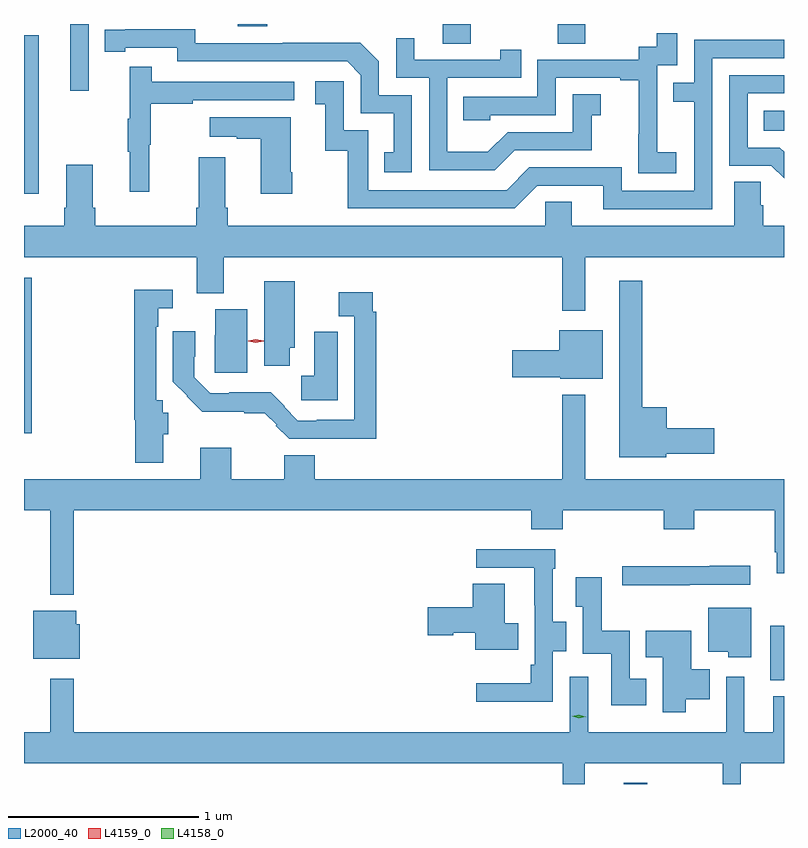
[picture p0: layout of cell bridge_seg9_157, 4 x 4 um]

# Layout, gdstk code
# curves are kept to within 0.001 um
import gdstk
lib = gdstk.Library(unit=1e-6, precision=1e-09)
def R(c, l, rs):  # rectangles x0, y0, x1, y1
    for r in rs: c.add(gdstk.rectangle(r[:2], r[2:], *l))
def P(c, l, *ps):  # polygons
    for p in ps: c.add(gdstk.Polygon(p, *l))
L2000_40 = (2000, 40)
L4158_0 = (4158, 0)
L4159_0 = (4159, 0)

bridge_seg9_157 = lib.new_cell('bridge_seg9_157')
R(bridge_seg9_157, L2000_40, [(378.155,1173.667,378.277,1173.673), (378.926,1174.214,378.998,1174.501), (374.998,1175.514,375.038,1176.331), (374.998,1176.774,375.076,1177.609), (378.892,1177.106,378.998,1177.21), (375.242,1177.317,375.339,1177.667), (377.201,1177.564,377.349,1177.667), (377.806,1177.564,377.953,1177.667), (376.124,1177.655,376.277,1177.667)])
P(bridge_seg9_157, L2000_40, [(377.04,1177.293),(376.866,1177.293),(376.866,1177.47),(376.768,1177.568),(376.36,1177.568),(376.36,1177.566),(375.9,1177.566),(375.9,1177.639),(375.424,1177.638),(375.424,1177.522),(375.532,1177.522),(375.532,1177.542),(375.804,1177.542),(375.804,1177.47),(376.698,1177.47),(376.77,1177.398),(376.77,1177.197),(376.943,1177.197),(376.943,1176.993),(376.894,1176.993),(376.894,1176.888),(377.04,1176.888)],
  [(378.43,1176.991),(378.332,1176.991),(378.332,1177.22),(378.33,1177.22),(378.33,1177.449),(378.435,1177.449),(378.435,1177.618),(378.327,1177.618),(378.327,1177.548),(378.234,1177.548),(378.234,1177.479),(377.7,1177.479),(377.7,1177.284),(377.311,1177.284),(377.311,1177.161),(377.451,1177.161),(377.451,1177.188),(377.796,1177.188),(377.796,1177.383),(378.137,1177.383),(378.137,1177.371),(378.233,1177.371),(378.233,1177.087),(378.232,1177.087),(378.232,1176.881),(378.43,1176.881)],
  [(377.581,1177.002),(377.985,1177.002),(377.985,1177.187),(378.034,1177.187),(378.034,1177.297),(377.886,1177.297),(377.886,1177.098),(377.544,1177.098),(377.44,1176.994),(377.226,1176.994),(377.226,1177.383),(377.615,1177.383),(377.615,1177.531),(377.504,1177.531),(377.504,1177.479),(377.053,1177.479),(377.053,1177.591),(376.956,1177.591),(376.956,1177.383),(377.13,1177.383),(377.13,1176.897),(377.476,1176.897)],
  [(378.621,1177.488),(378.998,1177.488),(378.998,1177.584),(378.525,1177.584),(378.525,1177.359),(378.415,1177.359),(378.415,1177.258),(378.525,1177.258),(378.525,1176.789),(378.144,1176.789),(378.144,1176.912),(377.658,1176.912),(377.538,1176.792),(376.809,1176.792),(376.809,1177.107),(376.68,1177.107),(376.68,1177.366),(376.53,1177.366),(376.53,1177.245),(376.583,1177.245),(376.583,1176.999),(376.701,1176.999),(376.701,1176.696),(377.58,1176.696),(377.7,1176.816),(378.047,1176.816),(378.047,1176.693),(378.621,1176.693)],
  [(375.656,1177.032),(375.664,1177.032),(375.664,1177.246),(375.887,1177.246),(375.887,1177.266),(376.42,1177.266),(376.42,1177.362),(375.671,1177.362),(375.671,1177.441),(375.554,1177.441),(375.554,1177.169),(375.543,1177.169),(375.543,1176.995),(375.554,1176.995),(375.554,1176.783),(375.656,1176.783)],
  [(378.998,1176.995),(378.976,1177.017),(378.807,1177.017),(378.807,1177.302),(378.998,1177.302),(378.998,1177.398),(378.711,1177.398),(378.711,1176.921),(378.93,1176.921),(378.998,1176.854)],
  [(376.41,1176.886),(376.402,1176.886),(376.402,1177.177),(375.975,1177.177),(375.975,1177.073),(376.118,1177.073),(376.118,1177.063),(376.244,1177.063),(376.244,1176.774),(376.41,1176.774)],
  [(377.953,1176.44),(378.998,1176.44),(378.998,1176.604),(378.89,1176.604),(378.89,1176.713),(378.876,1176.713),(378.876,1176.836),(378.737,1176.836),(378.737,1176.604),(377.881,1176.604),(377.881,1176.731),(377.742,1176.731),(377.742,1176.604),(376.07,1176.604),(376.07,1176.7),(376.057,1176.7),(376.057,1176.967),(375.917,1176.967),(375.917,1176.7),(375.905,1176.7),(375.905,1176.604),(375.374,1176.604),(375.374,1176.7),(375.361,1176.7),(375.361,1176.925),(375.221,1176.925),(375.221,1176.7),(375.209,1176.7),(375.209,1176.604),(374.998,1176.604),(374.998,1176.44),(375.908,1176.44),(375.908,1176.251),(376.048,1176.251),(376.048,1176.44),(377.832,1176.44),(377.832,1176.159),(377.953,1176.159)],
  [(378.378,1175.405),(378.631,1175.405),(378.631,1175.54),(378.382,1175.54),(378.382,1175.65),(378.253,1175.65),(378.253,1176.316),(378.131,1176.316),(378.131,1175.387),(378.378,1175.387)],
  [(376.396,1175.964),(376.423,1175.964),(376.423,1176.313),(376.262,1176.313),(376.262,1175.868),(376.396,1175.868)],
  [(375.73,1175.508),(375.757,1175.508),(375.757,1175.622),(375.729,1175.622),(375.729,1175.688),(375.693,1175.688),(375.693,1176.074),(375.705,1176.074),(375.705,1176.171),(375.781,1176.171),(375.781,1176.268),(375.577,1176.268),(375.577,1175.585),(375.584,1175.585),(375.584,1175.357),(375.73,1175.357)],
  [(376.853,1176.152),(376.833,1176.152),(376.833,1176.256),(376.654,1176.256),(376.654,1176.128),(376.737,1176.128),(376.737,1175.584),(376.54,1175.584),(376.54,1175.58),(376.44,1175.58),(376.368,1175.652),(376.371,1175.655),(376.297,1175.729),(376.078,1175.729),(376.078,1175.724),(375.978,1175.724),(375.894,1175.808),(375.894,1175.916),(375.898,1175.916),(375.898,1176.049),(375.782,1176.049),(375.782,1175.784),(375.856,1175.71),(375.855,1175.708),(375.936,1175.627),(376.157,1175.627),(376.157,1175.619),(376.265,1175.619),(376.327,1175.557),(376.323,1175.553),(376.393,1175.483),(376.853,1175.483)],
  [(376.174,1176.166),(376.004,1176.166),(376.004,1176.03),(376.001,1176.03),(376.001,1175.832),(376.174,1175.832)],
  [(378.043,1176.055),(377.816,1176.055),(377.816,1175.949),(377.568,1175.949),(377.568,1175.807),(377.82,1175.807),(377.82,1175.801),(378.043,1175.801)],
  [(376.648,1176.047),(376.526,1176.047),(376.526,1175.815),(376.458,1175.815),(376.458,1175.686),(376.648,1175.686)],
  [(375.259,1175.108),(377.669,1175.108),(377.669,1175.009),(377.834,1175.009),(377.834,1175.108),(378.365,1175.108),(378.365,1175.009),(378.525,1175.009),(378.525,1175.108),(378.948,1175.108),(378.948,1174.888),(378.959,1174.888),(378.959,1174.776),(378.998,1174.776),(378.998,1175.272),(377.953,1175.272),(377.953,1175.716),(377.832,1175.716),(377.832,1175.272),(376.528,1175.272),(376.528,1175.398),(376.367,1175.398),(376.367,1175.272),(376.09,1175.272),(376.09,1175.437),(375.926,1175.437),(375.926,1175.272),(374.998,1175.272),(374.998,1175.108),(375.137,1175.108),(375.137,1174.664),(375.259,1174.664)],
  [(377.781,1174.366),(377.851,1174.366),(377.851,1174.521),(377.781,1174.521),(377.781,1174.799),(377.794,1174.799),(377.794,1174.902),(377.379,1174.902),(377.379,1174.806),(377.684,1174.806),(377.684,1174.609),(377.685,1174.609),(377.685,1174.294),(377.665,1174.294),(377.665,1174.198),(377.379,1174.198),(377.379,1174.1),(377.781,1174.1)],
  [(378.503,1174.716),(378.82,1174.716),(378.82,1174.817),(378.607,1174.817),(378.607,1174.814),(378.147,1174.814),(378.147,1174.714),(378.503,1174.714)],
  [(378.274,1174.222),(378.186,1174.222),(378.186,1174.474),(378.039,1174.474),(378.039,1174.756),(377.903,1174.756),(377.903,1174.6),(377.94,1174.6),(377.94,1174.352),(378.09,1174.352),(378.09,1174.082),(378.274,1174.082)],
  [(377.6,1174.513),(377.527,1174.513),(377.527,1174.721),(377.36,1174.721),(377.36,1174.598),(377.124,1174.598),(377.124,1174.451),(377.256,1174.451),(377.256,1174.463),(377.372,1174.463),(377.372,1174.373),(377.6,1174.373)],
  [(378.826,1174.594),(378.599,1174.594),(378.599,1174.364),(378.704,1174.364),(378.704,1174.334),(378.826,1174.334)],
  [(375.292,1174.509),(375.274,1174.509),(375.274,1174.579),(375.047,1174.579),(375.047,1174.325),(375.292,1174.325)],
  [(378.481,1174.112),(378.608,1174.112),(378.608,1174.27),(378.511,1174.27),(378.511,1174.474),(378.271,1174.474),(378.271,1174.334),(378.359,1174.334),(378.359,1174.044),(378.481,1174.044)],
  [(377.871,1173.94),(375.259,1173.94),(375.259,1174.222),(375.137,1174.222),(375.137,1173.94),(374.998,1173.94),(374.998,1173.776),(377.833,1173.776),(377.833,1173.667),(377.949,1173.667),(377.949,1173.776),(378.675,1173.776),(378.675,1173.667),(378.771,1173.667),(378.771,1173.776),(378.998,1173.776),(378.998,1174.129),(378.941,1174.129),(378.941,1173.94),(378.79,1173.94),(378.79,1174.231),(378.693,1174.231),(378.693,1173.94),(377.967,1173.94),(377.967,1174.231),(377.871,1174.231)])
P(bridge_seg9_157, L4158_0, [(377.919,1174.012),(377.884,1174.023),(377.884,1174.023),(377.884,1174.023),(377.919,1174.032),(377.954,1174.022),(377.954,1174.022),(377.954,1174.021)])
P(bridge_seg9_157, L4159_0, [(376.218,1175.989),(376.177,1175.998),(376.177,1175.998),(376.177,1175.999),(376.218,1176.009),(376.259,1175.999),(376.26,1175.999),(376.259,1175.998)])

lib.write_gds('bridge_seg9_157.gds')
